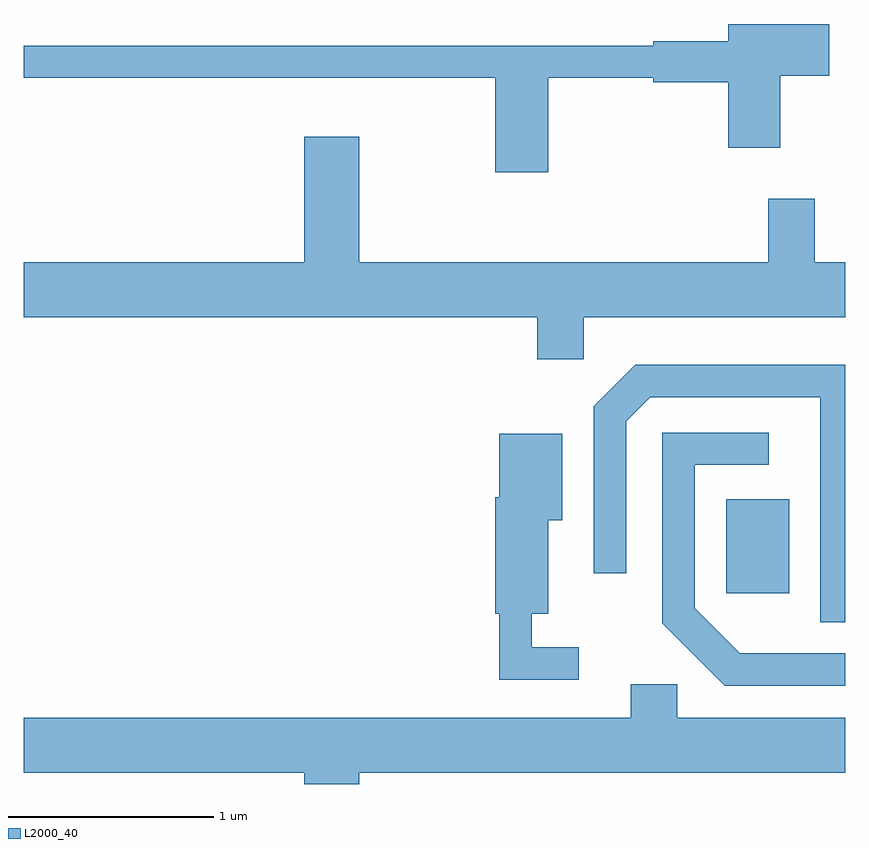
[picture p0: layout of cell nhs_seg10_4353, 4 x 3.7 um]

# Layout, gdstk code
import gdstk
lib = gdstk.Library(unit=1e-6, precision=1e-09)
def R(c, l, rs):  # rectangles x0, y0, x1, y1
    for r in rs: c.add(gdstk.rectangle(r[:2], r[2:], *l))
def P(c, l, *ps):  # polygons
    for p in ps: c.add(gdstk.Polygon(p, *l))
L2000_40 = (2000, 40)

nhs_seg10_4353 = lib.new_cell('nhs_seg10_4353')
R(nhs_seg10_4353, L2000_40, [(317.031,2121.451,317.339,2121.909)])
P(nhs_seg10_4353, L2000_40, [(316.164,2123.961),(316.676,2123.961),(316.676,2123.941),(317.041,2123.941),(317.041,2123.621),(317.294,2123.621),(317.294,2123.971),(317.534,2123.971),(317.534,2124.224),(317.041,2124.224),(317.041,2124.139),(316.676,2124.139),(316.676,2124.119),(313.611,2124.119),(313.611,2123.961),(315.906,2123.961),(315.906,2123.501),(316.164,2123.501)],
  [(316.339,2122.796),(317.611,2122.796),(317.611,2123.064),(317.464,2123.064),(317.464,2123.374),(317.236,2123.374),(317.236,2123.064),(315.244,2123.064),(315.244,2123.674),(314.976,2123.674),(314.976,2123.064),(313.611,2123.064),(313.611,2122.796),(316.111,2122.796),(316.111,2122.591),(316.339,2122.591)],
  [(317.611,2122.564),(316.589,2122.564),(316.386,2122.362),(316.386,2121.548),(316.544,2121.548),(316.544,2122.289),(316.662,2122.406),(317.491,2122.406),(317.491,2121.311),(317.611,2121.311)],
  [(317.611,2121.159),(317.097,2121.159),(316.879,2121.377),(316.879,2122.076),(317.238,2122.076),(317.238,2122.234),(316.721,2122.234),(316.721,2121.304),(317.024,2121.001),(317.611,2121.001)],
  [(316.313,2121.189),(316.084,2121.189),(316.084,2121.351),(316.164,2121.351),(316.164,2121.806),(316.234,2121.806),(316.234,2122.229),(315.926,2122.229),(315.926,2121.919),(315.906,2121.919),(315.906,2121.351),(315.926,2121.351),(315.926,2121.031),(316.313,2121.031)],
  [(315.244,2120.576),(317.611,2120.576),(317.611,2120.844),(316.794,2120.844),(316.794,2121.009),(316.566,2121.009),(316.566,2120.844),(313.611,2120.844),(313.611,2120.576),(314.976,2120.576),(314.976,2120.522),(315.244,2120.522)])

lib.write_gds('nhs_seg10_4353.gds')
